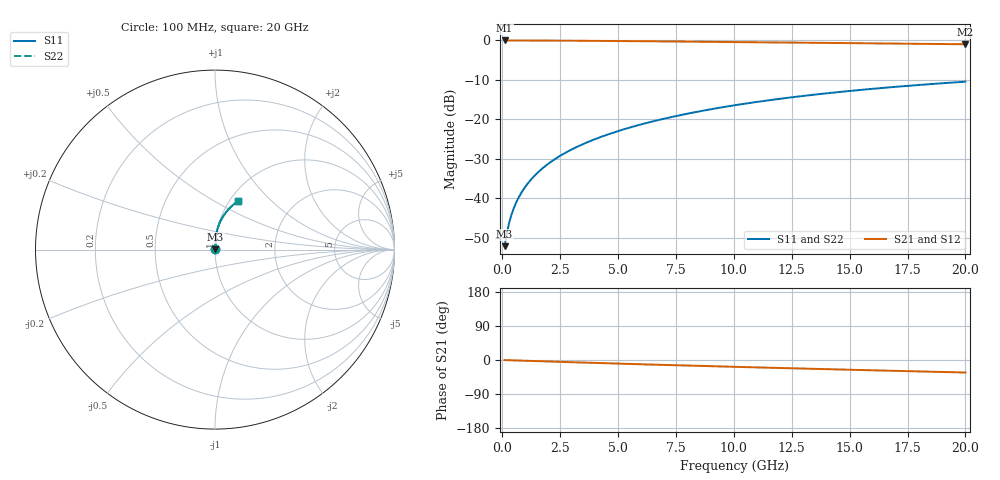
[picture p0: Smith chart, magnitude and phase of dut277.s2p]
! Touchstone file exported from HFSS 2024.1.0
!  File:  C:/UserFiles/LocalFiles/RDL_TSV_Batchsim/temp_RDL_bottom_277_1778702813.aedt
!  Generated:  04:09:06 AM May 14, 2026
!  Design:  RDL_bottom
!  Project:  temp_RDL_bottom_277_1778702813
!  Setup:  Setup1
!  Solution:  Sweep
! Variables:
!  dtsv = 10.80580581um
!  hbump = 3um
!  htsv = 54.23um
!  ldown = 486.26um
!  lrdl = 100um
!  p = 40
!  p1 = 45.49um
!  rhole = 1um
!  t = 450um
!  tdown = 4.53um
!  trdl = 3.915915916um
!  wdown = 21.4um
!  wrdl = 20um
# GHz S MA R 50.000000
! Terminal data exported
! Port[1] = RDL1_T1
! Port[2] = RDL1_T2
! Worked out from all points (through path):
!   200 points, 100 MHz to 20 GHz, reference 50 ohm
!   highest |S21| = -0.02 dB at 100 MHz (marker M1); lowest = -1.0 dB at 20 GHz (marker M2)
!   group delay of S21, straight-line fit = 4.54 ps
!   lowest |S11| = -52.1 dB at 100 MHz (marker M3), VSWR 1.00, Z = 50.2 + j0.153 ohm
!   |S11| at or under -10 dB: start of sweep to end of sweep
!   |S22| runs from -52.1 to -10.5 dB; largest |S21 - S12| = 2.1e-15
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0.1  0.002471 38.0  0.998 -0.2  0.998 -0.2  0.002471 38.0
! Gamma 0 0 0 0
! Port Impedance 50 0 50 0
0.2  0.003631 55.7  0.9979 -0.4  0.9979 -0.4  0.003631 55.7
0.3  0.004922 63.9  0.9978 -0.6  0.9978 -0.6  0.004922 63.9
0.4  0.006226 68.6  0.9976 -0.8  0.9976 -0.8  0.006226 68.6
0.5  0.007526 71.7  0.9975 -1.0  0.9975 -1.0  0.007526 71.7
0.6  0.008825 74.0  0.9974 -1.2  0.9974 -1.2  0.008824 74.0
0.8  0.01143 77.2  0.9971 -1.6  0.9971 -1.6  0.01143 77.2
1.1  0.01539 80.2  0.9966 -2.2  0.9966 -2.2  0.01539 80.2
1.3  0.01805 81.5  0.9962 -2.6  0.9962 -2.6  0.01805 81.5
1.6  0.02209 82.9  0.9956 -3.2  0.9956 -3.2  0.02209 82.9
2.1  0.02893 84.4  0.9943 -4.1  0.9943 -4.1  0.02893 84.4
2.7  0.03729 85.3  0.9923 -5.3  0.9923 -5.3  0.03729 85.3
3.5  0.04871 85.9  0.989 -6.8  0.989 -6.8  0.0487 85.9
4.2  0.05895 86.0  0.9858 -8.1  0.9858 -8.1  0.05895 86.0
5  0.07094 85.7  0.9818 -9.5  0.9818 -9.5  0.07094 85.7
6.8  0.09885 84.4  0.9718 -12.7  0.9718 -12.7  0.09884 84.3
8.4  0.1244 82.5  0.9625 -15.4  0.9625 -15.4  0.1244 82.5
10.1  0.1518 80.1  0.9524 -18.1  0.9524 -18.1  0.1517 80.1
11.7  0.1774 77.6  0.9429 -20.7  0.9429 -20.7  0.1774 77.6
13.4  0.2042 74.9  0.9328 -23.3  0.9328 -23.3  0.2041 74.9
16.7  0.2539 69.6  0.913 -28.3  0.913 -28.3  0.2538 69.6
20  0.2999 64.4  0.893 -33.0  0.893 -33.0  0.2998 64.4
